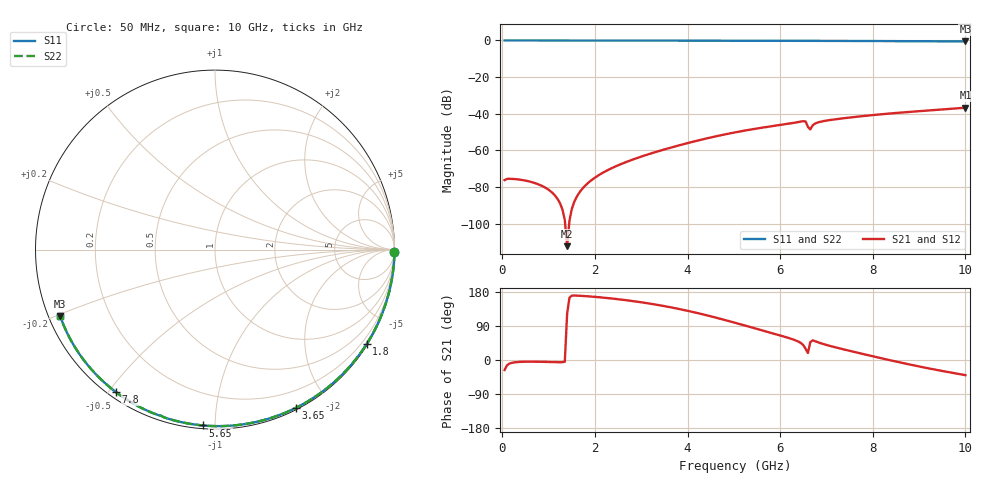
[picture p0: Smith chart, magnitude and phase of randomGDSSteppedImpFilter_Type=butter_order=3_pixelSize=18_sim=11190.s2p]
! freq	dB(S11)	phase(S11)	dB(S12)	phase(S12)
!  dB(S21)	phase(S21)	dB(S22)	phase(S22)
!S-par simulation data
#  GHz  S  DB  R 50
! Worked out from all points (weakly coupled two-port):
!   200 points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, 50 MHz to 10 GHz, reference 50 ohm
!   highest |S21| = -36.74 dB at 10 GHz (marker M1); lowest = -112.3 dB at 1.4 GHz (marker M2)
!   lowest |S11| = -0.5 dB at 10 GHz (marker M3), VSWR 31.75, Z = 1.64 - j10.3 ohm
!   |S11| at or under -10 dB: nowhere
!   |S22| runs from -0.5 to 0.0 dB; largest |S21 - S12| = 0
!   S11 on the Smith chart (normalised r, x): 50 MHz: open; 1.8 GHz: 0.03, -3.50; 3.65 GHz: 0.02, -1.63; 5.65 GHz: 0.02, -0.93; 7.8 GHz: 0.02, -0.52; 10 GHz: 0.03, -0.21
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0.05  -0.00 -0.9  -76.28 -26.4  -76.28 -26.4  -0.00 -0.9
0.15  -0.00 -2.7  -75.54 -9.8  -75.54 -9.8  -0.00 -2.7
0.45  -0.01 -8.1  -76.29 -4.6  -76.29 -4.6  -0.01 -8.1
0.9  -0.02 -16.1  -79.97 -4.9  -79.97 -4.9  -0.02 -16.1
1.4  -0.03 -24.9  -112.34 122.2  -112.34 122.2  -0.03 -24.9
1.75  -0.04 -31.0  -80.36 168.9  -80.36 168.9  -0.04 -31.0
1.8  -0.04 -31.9  -79.04 168.5  -79.04 168.5  -0.04 -31.9
2.05  -0.05 -36.2  -74.08 166.1  -74.08 166.1  -0.05 -36.2
2.4  -0.05 -42.2  -69.31 161.8  -69.31 161.8  -0.05 -42.2
3.4  -0.08 -58.9  -60.25 144.4  -60.25 144.4  -0.08 -58.9
3.65  -0.08 -62.9  -58.44 138.7  -58.44 138.7  -0.08 -62.9
5.05  -0.13 -84.9  -50.08 97.4  -50.08 97.4  -0.13 -84.9
5.65  -0.16 -93.9  -47.47 76.9  -47.47 76.9  -0.16 -94.0
6.5  -0.20 -106.4  -44.07 39.2  -44.07 39.2  -0.20 -106.5
6.55  -0.21 -107.2  -44.23 29.5  -44.23 29.5  -0.21 -107.2
6.6  -0.23 -107.9  -47.20 18.4  -47.20 18.4  -0.23 -107.9
6.65  -0.23 -108.5  -48.59 47.0  -48.59 47.0  -0.23 -108.5
6.7  -0.22 -109.2  -46.44 51.8  -46.44 51.8  -0.22 -109.2
6.95  -0.23 -112.8  -43.97 41.5  -43.97 41.5  -0.23 -112.8
7.8  -0.29 -124.9  -41.27 15.5  -41.27 15.5  -0.29 -124.9
8.35  -0.34 -132.6  -39.94 0.0  -39.94 0.0  -0.34 -132.7
10  -0.55 -156.7  -36.74 -40.0  -36.74 -40.0  -0.55 -156.8
